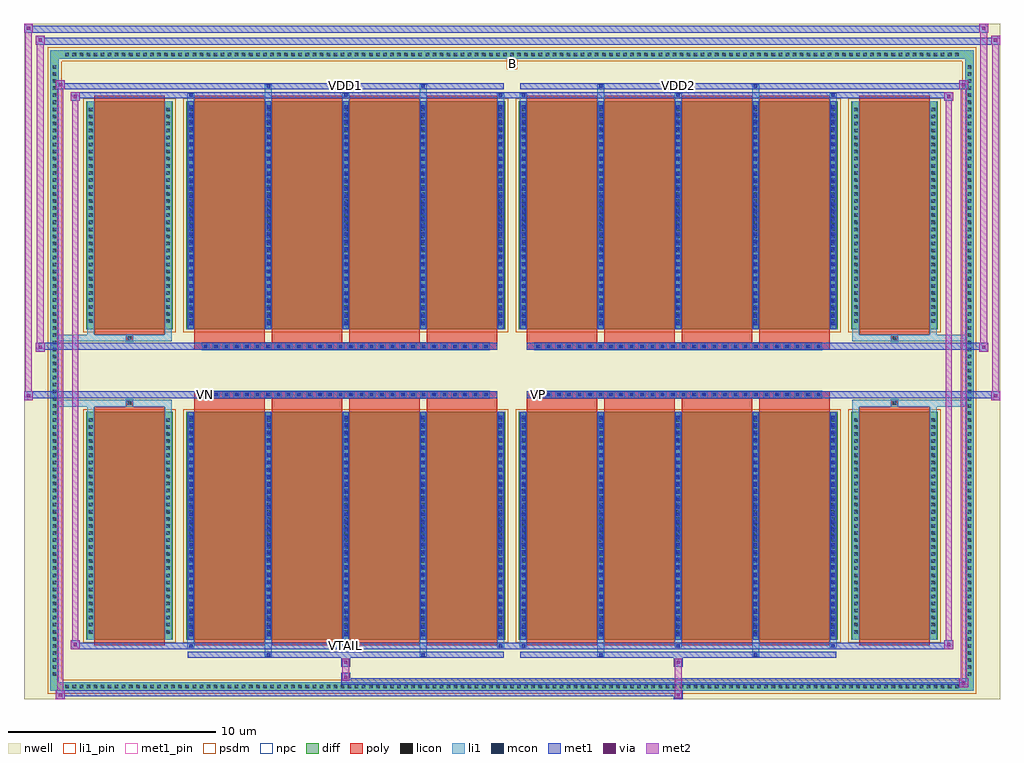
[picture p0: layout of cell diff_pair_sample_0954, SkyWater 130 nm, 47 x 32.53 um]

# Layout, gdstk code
import gdstk
lib = gdstk.Library(unit=1e-6, precision=5e-09)
def R(c, l, rs):  # rectangles x0, y0, x1, y1
    for r in rs: c.add(gdstk.rectangle(r[:2], r[2:], *l))
def A(c, l, x, y, w, h, nx, ny, dx, dy):  # array of equal rectangles
    R(c, l, [(x+i*dx, y+j*dy, x+i*dx+w, y+j*dy+h) for i in range(nx) for j in range(ny)])
def P(c, l, *ps):  # polygons
    for p in ps: c.add(gdstk.Polygon(p, *l))
nwell = (64, 20)
diff = (65, 20)
poly = (66, 20)
licon = (66, 44)
li1_pin = (67, 16)
li1 = (67, 20)
mcon = (67, 44)
met1_pin = (68, 16)
met1 = (68, 20)
via = (68, 44)
met2 = (69, 20)
psdm = (94, 20)
npc = (95, 20)

diff_pair_sample_0954 = lib.new_cell('diff_pair_sample_0954')
R(diff_pair_sample_0954, nwell, [(-23.5,-15.83,23.5,16.7), (-20.82,-14.02,-0.01,-0.8), (0.01,-14.02,20.82,-0.8), (-20.82,0.8,-0.01,14.02), (0.01,0.8,20.82,14.02)])
A(diff_pair_sample_0954, diff, -21.625, -15.43, 0.41, 0.41, 127, 2, 0.34, 30.45)
A(diff_pair_sample_0954, diff, -22.23, -14.825, 0.41, 0.41, 1, 87, 0, 0.34)
A(diff_pair_sample_0954, diff, 21.82, -14.825, 0.41, 0.41, 1, 87, 0, 0.34)
R(diff_pair_sample_0954, diff, [(-21.625,-15.43,21.625,-15.02), (-22.23,-14.825,-21.82,14.825), (21.82,-14.825,22.23,14.825), (-20.51,-12.975,-16.33,-1.985), (-15.69,-12.975,-0.32,-1.985), (0.32,-12.975,15.69,-1.985), (16.33,-12.975,20.51,-1.985), (-20.51,1.985,-16.33,12.975), (-15.69,1.985,-0.32,12.975), (0.32,1.985,15.69,12.975), (16.33,1.985,20.51,12.975), (-21.625,15.02,21.625,15.43)])
P(diff_pair_sample_0954, diff, [(22.23,15.43),(-22.23,15.43),(-22.23,-15.02),(-21.82,-15.02),(-21.82,15.02),(21.82,15.02),(21.82,-15.02),(-21.82,-15.02),(-22.23,-15.02),(-22.23,-15.43),(22.23,-15.43)])
A(diff_pair_sample_0954, poly, -15.3, -13.225, 3.4, 11.49, 4, 2, 3.73, 14.96)
A(diff_pair_sample_0954, poly, 0.71, -13.225, 3.4, 11.49, 4, 2, 3.73, 14.96)
A(diff_pair_sample_0954, poly, -15.3, -1.735, 3.4, 0.405, 4, 2, 3.73, 3.065)
A(diff_pair_sample_0954, poly, 0.71, -1.735, 3.4, 0.405, 4, 2, 3.73, 3.065)
A(diff_pair_sample_0954, poly, -14.92, -1.33, 0.33, 0.33, 28, 2, 0.5, 2.33)
A(diff_pair_sample_0954, poly, 1.09, -1.33, 0.33, 0.33, 28, 2, 0.5, 2.33)
R(diff_pair_sample_0954, poly, [(-20.12,-13.225,-16.72,-1.735), (16.72,-13.225,20.12,-1.735), (-18.585,-1.735,-18.255,-1.405), (-18.585,-1.735,-18.255,-1.405), (18.255,-1.735,18.585,-1.405), (18.255,-1.735,18.585,-1.405), (-15.3,-1.33,-0.71,-1), (0.71,-1.33,15.3,-1), (-15.3,1,-0.71,1.33), (0.71,1,15.3,1.33), (-18.585,1.405,-18.255,1.735), (-18.585,1.405,-18.255,1.735), (18.255,1.405,18.585,1.735), (18.255,1.405,18.585,1.735), (-20.12,1.735,-16.72,13.225), (16.72,1.735,20.12,13.225)])
A(diff_pair_sample_0954, licon, -21.505, -15.31, 0.17, 0.17, 127, 2, 0.34, 30.45)
A(diff_pair_sample_0954, licon, -22.11, -14.705, 0.17, 0.17, 1, 87, 0, 0.34)
A(diff_pair_sample_0954, licon, 21.94, -14.705, 0.17, 0.17, 1, 87, 0, 0.34)
A(diff_pair_sample_0954, licon, -20.37, -12.665, 0.17, 0.17, 1, 31, 0, 0.34)
A(diff_pair_sample_0954, licon, -16.64, -12.665, 0.17, 0.17, 1, 31, 0, 0.34)
A(diff_pair_sample_0954, licon, -15.55, -12.665, 0.17, 0.17, 5, 31, 3.73, 0.34)
A(diff_pair_sample_0954, licon, 0.46, -12.665, 0.17, 0.17, 5, 31, 3.73, 0.34)
A(diff_pair_sample_0954, licon, 16.47, -12.665, 0.17, 0.17, 1, 31, 0, 0.34)
A(diff_pair_sample_0954, licon, 20.2, -12.665, 0.17, 0.17, 1, 31, 0, 0.34)
A(diff_pair_sample_0954, licon, -14.84, -1.25, 0.17, 0.17, 28, 2, 0.5, 2.33)
A(diff_pair_sample_0954, licon, 1.17, -1.25, 0.17, 0.17, 28, 2, 0.5, 2.33)
A(diff_pair_sample_0954, licon, -20.37, 2.295, 0.17, 0.17, 1, 31, 0, 0.34)
A(diff_pair_sample_0954, licon, -16.64, 2.295, 0.17, 0.17, 1, 31, 0, 0.34)
A(diff_pair_sample_0954, licon, -15.55, 2.295, 0.17, 0.17, 5, 31, 3.73, 0.34)
A(diff_pair_sample_0954, licon, 0.46, 2.295, 0.17, 0.17, 5, 31, 3.73, 0.34)
A(diff_pair_sample_0954, licon, 16.47, 2.295, 0.17, 0.17, 1, 31, 0, 0.34)
A(diff_pair_sample_0954, licon, 20.2, 2.295, 0.17, 0.17, 1, 31, 0, 0.34)
R(diff_pair_sample_0954, licon, [(-18.505,-1.655,-18.335,-1.485), (18.335,-1.655,18.505,-1.485), (-18.505,1.485,-18.335,1.655), (18.335,1.485,18.505,1.655)])
R(diff_pair_sample_0954, li1_pin, [(-0.25,14.52,0.25,15.02)])
A(diff_pair_sample_0954, li1, -21.585, -15.39, 0.33, 0.33, 127, 2, 0.34, 30.45)
A(diff_pair_sample_0954, li1, -22.19, -14.785, 0.33, 0.33, 1, 87, 0, 0.34)
A(diff_pair_sample_0954, li1, 21.86, -14.785, 0.33, 0.33, 1, 87, 0, 0.34)
A(diff_pair_sample_0954, li1, -15.63, -13.35, 0.33, 0.375, 3, 2, 7.46, 26.325)
A(diff_pair_sample_0954, li1, -15.55, -13.35, 0.17, 0.17, 3, 2, 7.46, 26.53)
A(diff_pair_sample_0954, li1, 0.38, -13.35, 0.33, 0.375, 3, 2, 7.46, 26.325)
A(diff_pair_sample_0954, li1, 0.46, -13.35, 0.17, 0.17, 3, 2, 7.46, 26.53)
A(diff_pair_sample_0954, li1, -15.63, -12.975, 0.33, 10.99, 5, 2, 3.73, 14.96)
A(diff_pair_sample_0954, li1, 0.38, -12.975, 0.33, 10.99, 5, 2, 3.73, 14.96)
A(diff_pair_sample_0954, li1, -15.55, -12.785, 0.17, 0.17, 5, 30, 3.73, 0.36)
A(diff_pair_sample_0954, li1, -15.55, -12.785, 0.17, 10.61, 5, 2, 3.73, 14.96)
A(diff_pair_sample_0954, li1, 0.46, -12.785, 0.17, 0.17, 5, 30, 3.73, 0.36)
A(diff_pair_sample_0954, li1, 0.46, -12.785, 0.17, 10.61, 5, 2, 3.73, 14.96)
A(diff_pair_sample_0954, li1, -20.45, -12.745, 0.33, 0.33, 1, 31, 0, 0.34)
A(diff_pair_sample_0954, li1, -16.72, -12.745, 0.33, 0.33, 1, 31, 0, 0.34)
A(diff_pair_sample_0954, li1, -15.63, -12.745, 0.33, 0.33, 5, 31, 3.73, 0.34)
A(diff_pair_sample_0954, li1, 0.38, -12.745, 0.33, 0.33, 5, 31, 3.73, 0.34)
A(diff_pair_sample_0954, li1, 16.39, -12.745, 0.33, 0.33, 1, 31, 0, 0.34)
A(diff_pair_sample_0954, li1, 20.12, -12.745, 0.33, 0.33, 1, 31, 0, 0.34)
A(diff_pair_sample_0954, li1, -14.92, -1.33, 0.33, 0.33, 28, 2, 0.5, 2.33)
A(diff_pair_sample_0954, li1, 1.09, -1.33, 0.33, 0.33, 28, 2, 0.5, 2.33)
A(diff_pair_sample_0954, li1, -15.55, 2.175, 0.17, 0.17, 5, 30, 3.73, 0.36)
A(diff_pair_sample_0954, li1, 0.46, 2.175, 0.17, 0.17, 5, 30, 3.73, 0.36)
A(diff_pair_sample_0954, li1, -20.45, 2.215, 0.33, 0.33, 1, 31, 0, 0.34)
A(diff_pair_sample_0954, li1, -16.72, 2.215, 0.33, 0.33, 1, 31, 0, 0.34)
A(diff_pair_sample_0954, li1, -15.63, 2.215, 0.33, 0.33, 5, 31, 3.73, 0.34)
A(diff_pair_sample_0954, li1, 0.38, 2.215, 0.33, 0.33, 5, 31, 3.73, 0.34)
A(diff_pair_sample_0954, li1, 16.39, 2.215, 0.33, 0.33, 1, 31, 0, 0.34)
A(diff_pair_sample_0954, li1, 20.12, 2.215, 0.33, 0.33, 1, 31, 0, 0.34)
R(diff_pair_sample_0954, li1, [(-22.23,-15.43,-21.82,-15.02), (-22.23,-15.43,-21.82,-15.02), (-21.82,-15.43,21.82,-15.02), (21.82,-15.43,22.23,-15.02), (21.82,-15.43,22.23,-15.02), (-22.23,-15.02,-21.82,15.02), (21.82,-15.02,22.23,15.02), (-11.9,-13.78,-11.57,-12.975), (-11.82,-13.78,-11.65,-13.61), (-4.44,-13.78,-4.11,-12.975), (-4.36,-13.78,-4.19,-13.61), (4.11,-13.78,4.44,-12.975), (4.19,-13.78,4.36,-13.61), (11.57,-13.78,11.9,-12.975), (11.65,-13.78,11.82,-13.61), (-20.45,-12.975,-20.12,-1.985), (-16.72,-12.975,-16.39,-1.985), (16.39,-12.975,16.72,-1.985), (20.12,-12.975,20.45,-1.985), (-20.45,-1.985,-20.12,-1.405), (-16.72,-1.985,-16.39,-1.405), (16.39,-1.985,16.72,-1.405), (20.12,-1.985,20.45,-1.405), (-22.23,-1.735,-18.585,-1.405), (-20.45,-1.735,-18.585,-1.405), (-18.585,-1.735,-18.255,-1.405), (-18.255,-1.735,-16.39,-1.405), (16.39,-1.735,18.255,-1.405), (18.255,-1.735,18.585,-1.405), (18.255,-1.735,22.23,-1.405), (18.585,-1.735,20.45,-1.405), (-22.23,1.405,-18.585,1.735), (-20.45,1.405,-18.585,1.735), (-20.45,1.405,-20.12,1.985), (-18.585,1.405,-18.255,1.735), (-18.255,1.405,-16.39,1.735), (-16.72,1.405,-16.39,1.985), (16.39,1.405,18.255,1.735), (16.39,1.405,16.72,1.985), (18.255,1.405,18.585,1.735), (18.255,1.405,22.23,1.735), (18.585,1.405,20.45,1.735), (20.12,1.405,20.45,1.985), (-20.45,1.985,-20.12,12.975), (-16.72,1.985,-16.39,12.975), (16.39,1.985,16.72,12.975), (20.12,1.985,20.45,12.975), (-11.9,12.975,-11.57,13.78), (-4.44,12.975,-4.11,13.78), (4.11,12.975,4.44,13.78), (11.57,12.975,11.9,13.78), (-11.82,13.61,-11.65,13.78), (-4.36,13.61,-4.19,13.78), (4.19,13.61,4.36,13.78), (11.65,13.61,11.82,13.78), (-22.23,15.02,-21.82,15.43), (-22.23,15.02,-21.82,15.43), (-21.82,15.02,21.82,15.43), (21.82,15.02,22.23,15.43), (21.82,15.02,22.23,15.43)])
A(diff_pair_sample_0954, mcon, -15.55, -13.35, 0.17, 0.17, 3, 2, 7.46, 26.53)
A(diff_pair_sample_0954, mcon, 0.46, -13.35, 0.17, 0.17, 3, 2, 7.46, 26.53)
A(diff_pair_sample_0954, mcon, -15.55, -12.785, 0.17, 0.17, 5, 30, 3.73, 0.36)
A(diff_pair_sample_0954, mcon, 0.46, -12.785, 0.17, 0.17, 5, 30, 3.73, 0.36)
A(diff_pair_sample_0954, mcon, -14.84, -1.25, 0.17, 0.17, 28, 2, 0.5, 2.33)
A(diff_pair_sample_0954, mcon, 1.17, -1.25, 0.17, 0.17, 28, 2, 0.5, 2.33)
A(diff_pair_sample_0954, mcon, -15.55, 2.175, 0.17, 0.17, 5, 30, 3.73, 0.36)
A(diff_pair_sample_0954, mcon, 0.46, 2.175, 0.17, 0.17, 5, 30, 3.73, 0.36)
R(diff_pair_sample_0954, mcon, [(-11.82,-13.78,-11.65,-13.61), (-4.36,-13.78,-4.19,-13.61), (4.19,-13.78,4.36,-13.61), (11.65,-13.78,11.82,-13.61), (-11.82,13.61,-11.65,13.78), (-4.36,13.61,-4.19,13.78), (4.19,13.61,4.36,13.78), (11.65,13.61,11.82,13.78)])
R(diff_pair_sample_0954, met1_pin, [(-8.14,-13.39,-7.87,-13.12), (-14.89,-1.29,-14.62,-1.02), (1.12,-1.29,1.39,-1.02), (-8.14,13.57,-7.87,13.84), (7.87,13.57,8.14,13.84)])
A(diff_pair_sample_0954, met1, -15.61, -13.41, 0.29, 0.29, 3, 2, 7.46, 26.53)
A(diff_pair_sample_0954, met1, 0.4, -13.41, 0.29, 0.29, 3, 2, 7.46, 26.53)
A(diff_pair_sample_0954, met1, -15.61, -12.975, 0.29, 10.99, 5, 2, 3.73, 14.96)
A(diff_pair_sample_0954, met1, 0.4, -12.975, 0.29, 10.99, 5, 2, 3.73, 14.96)
A(diff_pair_sample_0954, met1, -15.61, -12.845, 0.29, 0.29, 5, 30, 3.73, 0.36)
A(diff_pair_sample_0954, met1, 0.4, -12.845, 0.29, 0.29, 5, 30, 3.73, 0.36)
A(diff_pair_sample_0954, met1, -14.9, -1.31, 0.29, 0.29, 28, 2, 0.5, 2.33)
A(diff_pair_sample_0954, met1, 1.11, -1.31, 0.29, 0.29, 28, 2, 0.5, 2.33)
A(diff_pair_sample_0954, met1, -15.61, 2.115, 0.29, 0.29, 5, 30, 3.73, 0.36)
A(diff_pair_sample_0954, met1, 0.4, 2.115, 0.29, 0.29, 5, 30, 3.73, 0.36)
R(diff_pair_sample_0954, met1, [(-21.96,-15.83,-21.53,-15.4), (7.79,-15.83,8.22,-15.4), (-21.96,-15.69,8.22,-15.4), (21.53,-15.26,21.96,-14.83), (-8.22,-15.12,21.96,-14.83), (-8.22,-14.98,-7.79,-14.55), (-8.22,-14.27,-7.79,-13.84), (7.79,-14.27,8.22,-13.84), (-15.61,-13.84,-0.4,-13.55), (-11.88,-13.84,-11.59,-13.55), (-4.42,-13.84,-4.13,-13.55), (0.4,-13.84,15.61,-13.55), (4.13,-13.84,4.42,-13.55), (11.59,-13.84,11.88,-13.55), (-21.25,-13.41,-20.82,-12.98), (-21.25,-13.41,-15.61,-13.12), (-15.61,-13.41,-0.4,-13.12), (-0.4,-13.41,0.4,-13.12), (0.4,-13.41,15.61,-13.12), (15.61,-13.41,21.25,-13.12), (20.82,-13.41,21.25,-12.98), (-23.5,-1.43,-23.07,-1), (23.07,-1.43,23.5,-1), (-23.5,-1.33,-0.71,-1), (-15.3,-1.33,-0.71,-1), (0.71,-1.33,15.3,-1), (0.71,-1.33,23.5,-1), (-22.93,0.9,-22.5,1.33), (22.5,0.9,22.93,1.33), (-22.93,1,-15.3,1.33), (-15.3,1,-0.71,1.33), (0.71,1,15.3,1.33), (15.3,1,22.93,1.33), (-21.25,12.98,-20.82,13.41), (20.82,12.98,21.25,13.41), (-21.25,13.12,-15.61,13.41), (-15.61,13.12,-0.4,13.41), (-0.4,13.12,0.4,13.41), (0.4,13.12,15.61,13.41), (15.61,13.12,21.25,13.41), (-21.96,13.55,-21.53,13.98), (-21.96,13.55,-15.61,13.84), (-15.61,13.55,-0.4,13.84), (-11.88,13.55,-11.59,13.84), (-4.42,13.55,-4.13,13.84), (0.4,13.55,15.61,13.84), (4.13,13.55,4.42,13.84), (11.59,13.55,11.88,13.84), (15.61,13.55,21.96,13.84), (21.53,13.55,21.96,13.98), (-22.93,15.7,-22.5,16.13), (-22.93,15.7,-20.82,16.03), (-20.82,15.7,20.82,16.03), (20.82,15.7,23.5,16.03), (23.07,15.7,23.5,16.13), (-23.5,16.27,-23.07,16.7), (-23.5,16.27,-20.82,16.6), (-20.82,16.27,20.82,16.6), (20.82,16.27,22.93,16.6), (22.5,16.27,22.93,16.7)])
R(diff_pair_sample_0954, via, [(-21.82,-15.69,-21.67,-15.54), (7.93,-15.69,8.08,-15.54), (21.67,-15.12,21.82,-14.97), (-8.08,-14.84,-7.93,-14.69), (-8.08,-14.13,-7.93,-13.98), (7.93,-14.13,8.08,-13.98), (-21.11,-13.27,-20.96,-13.12), (20.96,-13.27,21.11,-13.12), (-23.36,-1.29,-23.21,-1.14), (23.21,-1.29,23.36,-1.14), (-22.79,1.04,-22.64,1.19), (22.64,1.04,22.79,1.19), (-21.11,13.12,-20.96,13.27), (20.96,13.12,21.11,13.27), (-21.82,13.69,-21.67,13.84), (21.67,13.69,21.82,13.84), (-22.79,15.84,-22.64,15.99), (23.21,15.84,23.36,15.99), (-23.36,16.41,-23.21,16.56), (22.64,16.41,22.79,16.56)])
R(diff_pair_sample_0954, met2, [(-21.96,-15.83,-21.53,-15.4), (-21.89,-15.83,-21.6,13.98), (-21.6,-15.83,-21.53,-15.4), (-21.91,-15.78,-21.58,-15.45), (7.84,-15.78,8.17,-15.45), (7.84,-15.45,8.17,-14.22), (21.53,-15.26,21.96,-14.83), (21.6,-15.26,21.89,13.98), (21.89,-15.26,21.96,-14.83), (21.58,-15.21,21.91,-14.88), (-8.17,-14.93,-7.84,-14.6), (-8.17,-14.6,-7.84,-14.22), (-8.17,-14.22,-7.84,-13.89), (7.84,-14.22,8.17,-13.89), (-21.25,-13.41,-20.82,-12.98), (-21.18,-13.41,-20.89,13.41), (-20.89,-13.41,-20.82,-12.98), (20.82,-13.41,21.25,-12.98), (20.89,-13.41,21.18,13.41), (21.18,-13.41,21.25,-12.98), (-21.2,-13.36,-20.87,-13.03), (20.87,-13.36,21.2,-13.03), (-23.5,-1.43,-23.07,-1), (-23.45,-1.43,-23.12,16.7), (-23.12,-1.43,-23.07,-1), (23.07,-1.43,23.5,-1), (23.12,-1.43,23.45,16.13), (23.45,-1.43,23.5,-1), (-23.45,-1.38,-23.12,-1.05), (23.12,-1.38,23.45,-1.05), (-22.93,0.9,-22.5,1.33), (-22.88,0.9,-22.55,16.13), (-22.55,0.9,-22.5,1.33), (22.5,0.9,22.93,1.33), (22.55,0.9,22.88,16.7), (22.88,0.9,22.93,1.33), (-22.88,0.95,-22.55,1.28), (22.55,0.95,22.88,1.28), (-21.25,12.98,-20.82,13.41), (-20.89,12.98,-20.82,13.41), (20.82,12.98,21.25,13.41), (21.18,12.98,21.25,13.41), (-21.2,13.03,-20.87,13.36), (20.87,13.03,21.2,13.36), (-21.96,13.55,-21.53,13.98), (-21.6,13.55,-21.53,13.98), (21.53,13.55,21.96,13.98), (21.89,13.55,21.96,13.98), (-21.91,13.6,-21.58,13.93), (21.58,13.6,21.91,13.93), (-22.93,15.7,-22.5,16.13), (-22.55,15.7,-22.5,16.13), (23.07,15.7,23.5,16.13), (23.45,15.7,23.5,16.13), (-22.88,15.75,-22.55,16.08), (23.12,15.75,23.45,16.08), (-23.5,16.27,-23.07,16.7), (-23.12,16.27,-23.07,16.7), (22.5,16.27,22.93,16.7), (22.88,16.27,22.93,16.7), (-23.45,16.32,-23.12,16.65), (22.55,16.32,22.88,16.65)])
R(diff_pair_sample_0954, psdm, [(-20.64,-13.105,-16.2,-1.855), (-15.82,-13.105,-0.19,-1.855), (0.19,-13.105,15.82,-1.855), (16.2,-13.105,20.64,-1.855), (-20.64,1.855,-16.2,13.105), (-15.82,1.855,-0.19,13.105), (0.19,1.855,15.82,13.105), (16.2,1.855,20.64,13.105)])
P(diff_pair_sample_0954, psdm, [(22.36,15.56),(-22.36,15.56),(-22.36,-14.89),(-21.69,-14.89),(-21.69,14.89),(21.69,14.89),(21.69,-14.89),(-21.69,-14.89),(-22.36,-14.89),(-22.36,-15.56),(22.36,-15.56)])
A(diff_pair_sample_0954, npc, -14.94, -1.35, 0.37, 0.37, 28, 2, 0.5, 2.33)
A(diff_pair_sample_0954, npc, 1.07, -1.35, 0.37, 0.37, 28, 2, 0.5, 2.33)
R(diff_pair_sample_0954, npc, [(-18.605,-1.755,-18.235,-1.385), (18.235,-1.755,18.605,-1.385), (-14.94,-1.35,-14.07,-0.98), (-14.94,-1.35,-14.07,-0.98), (-14.44,-1.35,-13.57,-0.98), (-14.44,-1.35,-13.57,-0.98), (-13.94,-1.35,-13.07,-0.98), (-13.94,-1.35,-13.07,-0.98), (-13.44,-1.35,-12.57,-0.98), (-13.44,-1.35,-12.57,-0.98), (-12.94,-1.35,-12.07,-0.98), (-12.94,-1.35,-12.07,-0.98), (-12.44,-1.35,-11.57,-0.98), (-12.44,-1.35,-11.57,-0.98), (-11.94,-1.35,-11.07,-0.98), (-11.94,-1.35,-11.07,-0.98), (-11.44,-1.35,-10.57,-0.98), (-11.44,-1.35,-10.57,-0.98), (-10.94,-1.35,-10.07,-0.98), (-10.94,-1.35,-10.07,-0.98), (-10.44,-1.35,-9.57,-0.98), (-10.44,-1.35,-9.57,-0.98), (-9.94,-1.35,-9.07,-0.98), (-9.94,-1.35,-9.07,-0.98), (-9.44,-1.35,-8.57,-0.98), (-9.44,-1.35,-8.57,-0.98), (-8.94,-1.35,-8.07,-0.98), (-8.94,-1.35,-8.07,-0.98), (-8.44,-1.35,-7.57,-0.98), (-8.44,-1.35,-7.57,-0.98), (-7.94,-1.35,-7.07,-0.98), (-7.94,-1.35,-7.07,-0.98), (-7.44,-1.35,-6.57,-0.98), (-7.44,-1.35,-6.57,-0.98), (-6.94,-1.35,-6.07,-0.98), (-6.94,-1.35,-6.07,-0.98), (-6.44,-1.35,-5.57,-0.98), (-6.44,-1.35,-5.57,-0.98), (-5.94,-1.35,-5.07,-0.98), (-5.94,-1.35,-5.07,-0.98), (-5.44,-1.35,-4.57,-0.98), (-5.44,-1.35,-4.57,-0.98), (-4.94,-1.35,-4.07,-0.98), (-4.94,-1.35,-4.07,-0.98), (-4.44,-1.35,-3.57,-0.98), (-4.44,-1.35,-3.57,-0.98), (-3.94,-1.35,-3.07,-0.98), (-3.94,-1.35,-3.07,-0.98), (-3.44,-1.35,-2.57,-0.98), (-3.44,-1.35,-2.57,-0.98), (-2.94,-1.35,-2.07,-0.98), (-2.94,-1.35,-2.07,-0.98), (-2.44,-1.35,-1.57,-0.98), (-2.44,-1.35,-1.57,-0.98), (-1.94,-1.35,-1.07,-0.98), (-1.94,-1.35,-1.07,-0.98), (1.07,-1.35,1.94,-0.98), (1.07,-1.35,1.94,-0.98), (1.57,-1.35,2.44,-0.98), (1.57,-1.35,2.44,-0.98), (2.07,-1.35,2.94,-0.98), (2.07,-1.35,2.94,-0.98), (2.57,-1.35,3.44,-0.98), (2.57,-1.35,3.44,-0.98), (3.07,-1.35,3.94,-0.98), (3.07,-1.35,3.94,-0.98), (3.57,-1.35,4.44,-0.98), (3.57,-1.35,4.44,-0.98), (4.07,-1.35,4.94,-0.98), (4.07,-1.35,4.94,-0.98), (4.57,-1.35,5.44,-0.98), (4.57,-1.35,5.44,-0.98), (5.07,-1.35,5.94,-0.98), (5.07,-1.35,5.94,-0.98), (5.57,-1.35,6.44,-0.98), (5.57,-1.35,6.44,-0.98), (6.07,-1.35,6.94,-0.98), (6.07,-1.35,6.94,-0.98), (6.57,-1.35,7.44,-0.98), (6.57,-1.35,7.44,-0.98), (7.07,-1.35,7.94,-0.98), (7.07,-1.35,7.94,-0.98), (7.57,-1.35,8.44,-0.98), (7.57,-1.35,8.44,-0.98), (8.07,-1.35,8.94,-0.98), (8.07,-1.35,8.94,-0.98), (8.57,-1.35,9.44,-0.98), (8.57,-1.35,9.44,-0.98), (9.07,-1.35,9.94,-0.98), (9.07,-1.35,9.94,-0.98), (9.57,-1.35,10.44,-0.98), (9.57,-1.35,10.44,-0.98), (10.07,-1.35,10.94,-0.98), (10.07,-1.35,10.94,-0.98), (10.57,-1.35,11.44,-0.98), (10.57,-1.35,11.44,-0.98), (11.07,-1.35,11.94,-0.98), (11.07,-1.35,11.94,-0.98), (11.57,-1.35,12.44,-0.98), (11.57,-1.35,12.44,-0.98), (12.07,-1.35,12.94,-0.98), (12.07,-1.35,12.94,-0.98), (12.57,-1.35,13.44,-0.98), (12.57,-1.35,13.44,-0.98), (13.07,-1.35,13.94,-0.98), (13.07,-1.35,13.94,-0.98), (13.57,-1.35,14.44,-0.98), (13.57,-1.35,14.44,-0.98), (14.07,-1.35,14.94,-0.98), (14.07,-1.35,14.94,-0.98), (-14.94,0.98,-14.07,1.35), (-14.94,0.98,-14.07,1.35), (-14.44,0.98,-13.57,1.35), (-14.44,0.98,-13.57,1.35), (-13.94,0.98,-13.07,1.35), (-13.94,0.98,-13.07,1.35), (-13.44,0.98,-12.57,1.35), (-13.44,0.98,-12.57,1.35), (-12.94,0.98,-12.07,1.35), (-12.94,0.98,-12.07,1.35), (-12.44,0.98,-11.57,1.35), (-12.44,0.98,-11.57,1.35), (-11.94,0.98,-11.07,1.35), (-11.94,0.98,-11.07,1.35), (-11.44,0.98,-10.57,1.35), (-11.44,0.98,-10.57,1.35), (-10.94,0.98,-10.07,1.35), (-10.94,0.98,-10.07,1.35), (-10.44,0.98,-9.57,1.35), (-10.44,0.98,-9.57,1.35), (-9.94,0.98,-9.07,1.35), (-9.94,0.98,-9.07,1.35), (-9.44,0.98,-8.57,1.35), (-9.44,0.98,-8.57,1.35), (-8.94,0.98,-8.07,1.35), (-8.94,0.98,-8.07,1.35), (-8.44,0.98,-7.57,1.35), (-8.44,0.98,-7.57,1.35), (-7.94,0.98,-7.07,1.35), (-7.94,0.98,-7.07,1.35), (-7.44,0.98,-6.57,1.35), (-7.44,0.98,-6.57,1.35), (-6.94,0.98,-6.07,1.35), (-6.94,0.98,-6.07,1.35), (-6.44,0.98,-5.57,1.35), (-6.44,0.98,-5.57,1.35), (-5.94,0.98,-5.07,1.35), (-5.94,0.98,-5.07,1.35), (-5.44,0.98,-4.57,1.35), (-5.44,0.98,-4.57,1.35), (-4.94,0.98,-4.07,1.35), (-4.94,0.98,-4.07,1.35), (-4.44,0.98,-3.57,1.35), (-4.44,0.98,-3.57,1.35), (-3.94,0.98,-3.07,1.35), (-3.94,0.98,-3.07,1.35), (-3.44,0.98,-2.57,1.35), (-3.44,0.98,-2.57,1.35), (-2.94,0.98,-2.07,1.35), (-2.94,0.98,-2.07,1.35), (-2.44,0.98,-1.57,1.35), (-2.44,0.98,-1.57,1.35), (-1.94,0.98,-1.07,1.35), (-1.94,0.98,-1.07,1.35), (1.07,0.98,1.94,1.35), (1.07,0.98,1.94,1.35), (1.57,0.98,2.44,1.35), (1.57,0.98,2.44,1.35), (2.07,0.98,2.94,1.35), (2.07,0.98,2.94,1.35), (2.57,0.98,3.44,1.35), (2.57,0.98,3.44,1.35), (3.07,0.98,3.94,1.35), (3.07,0.98,3.94,1.35), (3.57,0.98,4.44,1.35), (3.57,0.98,4.44,1.35), (4.07,0.98,4.94,1.35), (4.07,0.98,4.94,1.35), (4.57,0.98,5.44,1.35), (4.57,0.98,5.44,1.35), (5.07,0.98,5.94,1.35), (5.07,0.98,5.94,1.35), (5.57,0.98,6.44,1.35), (5.57,0.98,6.44,1.35), (6.07,0.98,6.94,1.35), (6.07,0.98,6.94,1.35), (6.57,0.98,7.44,1.35), (6.57,0.98,7.44,1.35), (7.07,0.98,7.94,1.35), (7.07,0.98,7.94,1.35), (7.57,0.98,8.44,1.35), (7.57,0.98,8.44,1.35), (8.07,0.98,8.94,1.35), (8.07,0.98,8.94,1.35), (8.57,0.98,9.44,1.35), (8.57,0.98,9.44,1.35), (9.07,0.98,9.94,1.35), (9.07,0.98,9.94,1.35), (9.57,0.98,10.44,1.35), (9.57,0.98,10.44,1.35), (10.07,0.98,10.94,1.35), (10.07,0.98,10.94,1.35), (10.57,0.98,11.44,1.35), (10.57,0.98,11.44,1.35), (11.07,0.98,11.94,1.35), (11.07,0.98,11.94,1.35), (11.57,0.98,12.44,1.35), (11.57,0.98,12.44,1.35), (12.07,0.98,12.94,1.35), (12.07,0.98,12.94,1.35), (12.57,0.98,13.44,1.35), (12.57,0.98,13.44,1.35), (13.07,0.98,13.94,1.35), (13.07,0.98,13.94,1.35), (13.57,0.98,14.44,1.35), (13.57,0.98,14.44,1.35), (14.07,0.98,14.94,1.35), (14.07,0.98,14.94,1.35), (-18.605,1.385,-18.235,1.755), (18.235,1.385,18.605,1.755)])
diff_pair_sample_0954.add(gdstk.Label('VTAIL', (-8.005,-13.255), layer=68, texttype=5))
diff_pair_sample_0954.add(gdstk.Label('VN', (-14.755,-1.155), layer=68, texttype=5))
diff_pair_sample_0954.add(gdstk.Label('VP', (1.255,-1.155), layer=68, texttype=5))
diff_pair_sample_0954.add(gdstk.Label('B', (0,14.77), layer=67, texttype=5))
diff_pair_sample_0954.add(gdstk.Label('VDD2', (8.005,13.705), layer=68, texttype=5))
diff_pair_sample_0954.add(gdstk.Label('VDD1', (-8.005,13.705), layer=68, texttype=5))

lib.write_gds('diff_pair_sample_0954.gds')
